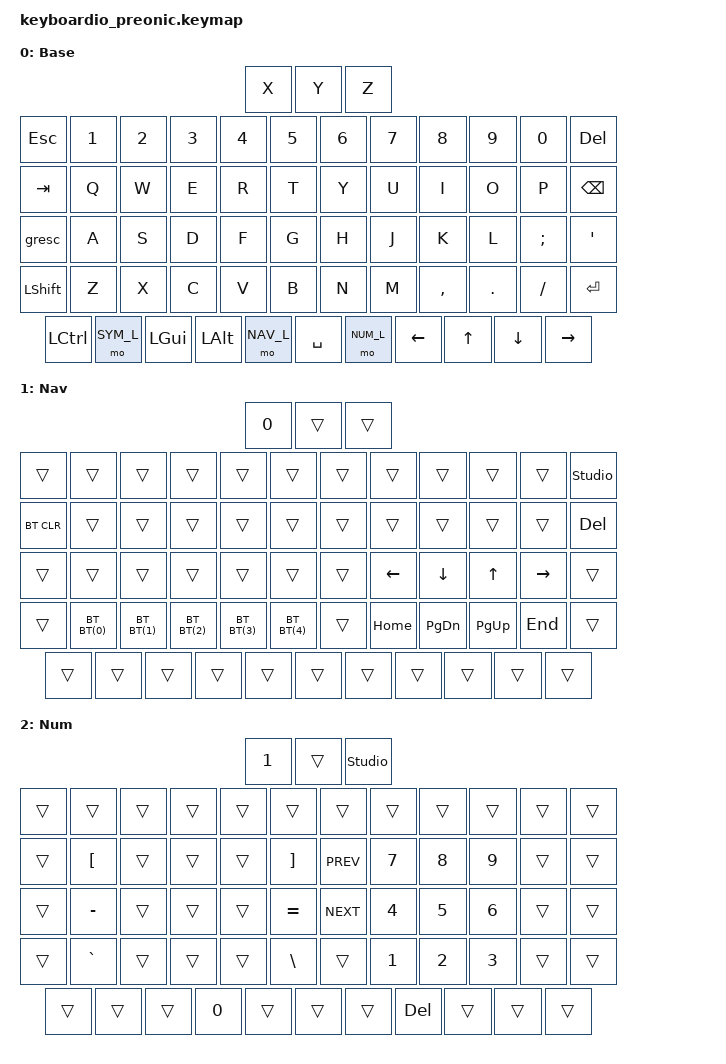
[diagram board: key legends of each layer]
/*
 * Copyright (c) 2022 Pete Johanson
 *
 * SPDX-License-Identifier: MIT
 */

#include <behaviors.dtsi>
#include <dt-bindings/zmk/keys.h>
#include <dt-bindings/zmk/bt.h>
#include <dt-bindings/zmk/outputs.h>

//#define PREONIC_ORTHO   1
//#define PREONIC_MIT     1

#define NAV_L 1
#define NUM_L 2
#define SYM_L 3

// Using layer taps on thumbs, having quick tap as well helps w/ repeating space/backspace
&lt { quick_tap_ms = <200>; };

#define BT(n) BT_SEL n

/ {
    keymap {
        compatible = "zmk,keymap";

        base_layer {
            label = "Base";
            bindings = <
		                                                                                          &kp X &kp Y &kp Z
 &kp ESC    &kp N1      &kp N2      &kp N3       &kp N4          &kp N5          &kp N6            &kp N7          &kp N8       &kp N9      &kp N0         &kp DEL
 &kp TAB    &kp Q      &kp W      &kp E       &kp R          &kp T          &kp Y            &kp U          &kp I       &kp O      &kp P         &kp BKSP
 &gresc    &kp A      &kp S      &kp D       &kp F          &kp G          &kp H            &kp J          &kp K       &kp L      &kp SEMI      &kp QUOT
 &kp LSHFT  &kp Z      &kp X      &kp C       &kp V          &kp B          &kp N            &kp M          &kp COMMA   &kp DOT    &kp FSLH      &kp RET
 &kp LCTRL  &mo SYM_L   &kp LGUI  &kp LALT    &mo NAV_L          &kp SPACE                   &mo NUM_L      &kp LEFT    &kp UP     &kp DOWN      &kp RIGHT

            >;
        };

        nav_layer {
            label = "Nav";
            bindings = <
		                                                                                          &kp N0 &trans &trans
&trans &trans     &trans     &trans      &trans          &trans       &trans     &trans         &trans      &trans     &trans     &studio_unlock
&bt BT_CLR &trans     &trans     &trans      &trans          &trans       &trans     &trans         &trans      &trans     &trans     &kp DEL
&trans     &trans     &trans     &trans      &trans          &trans       &trans     &kp LEFT       &kp DOWN    &kp UP     &kp RIGHT  &trans
&trans     &bt BT(0)  &bt BT(1)  &bt BT(2)   &bt BT(3)       &bt BT(4)    &trans     &kp HOME       &kp PG_DN   &kp PG_UP  &kp END    &trans
&trans  &trans       &trans     &trans      &trans           &trans            &trans        &trans      &trans &trans &trans

            >;
        };

        num_layer {
            label = "Num";
            bindings = <
		                                                                                          &kp N1 &trans &studio_unlock
&trans &trans     &trans     &trans      &trans          &trans       &trans     &trans         &trans      &trans     &trans     &trans
&trans     &kp LBKT   &trans &trans &trans    &kp RBKT    &kp C_PREV    &kp N7     &kp N8      &kp N9       &trans     &trans
&trans     &kp MINUS  &trans &trans &trans    &kp EQUAL   &kp C_NEXT    &kp N4     &kp N5      &kp N6       &trans     &trans
&trans     &kp GRAVE  &trans &trans &trans    &kp BSLH    &trans        &kp N1     &kp N2      &kp N3       &trans     &trans
&trans  &trans       &trans     &kp N0      &trans           &trans            &trans        &kp DEL      &trans &trans &trans

            >;
        };
    };
};

